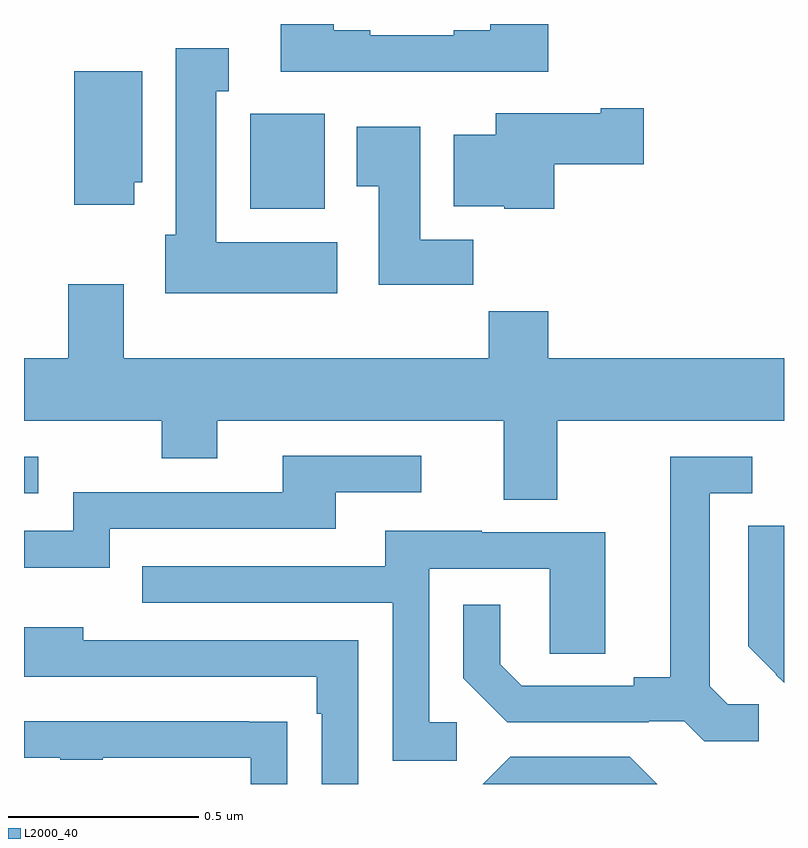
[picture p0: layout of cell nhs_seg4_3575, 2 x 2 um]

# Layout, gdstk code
import gdstk
lib = gdstk.Library(unit=1e-6, precision=1e-09)
def R(c, l, rs):  # rectangles x0, y0, x1, y1
    for r in rs: c.add(gdstk.rectangle(r[:2], r[2:], *l))
def P(c, l, *ps):  # polygons
    for p in ps: c.add(gdstk.Polygon(p, *l))
L2000_40 = (2000, 40)

nhs_seg4_3575 = lib.new_cell('nhs_seg4_3575')
R(nhs_seg4_3575, L2000_40, [(155,760.665,155.038,760.761), (155.595,761.414,155.791,761.664)])
P(nhs_seg4_3575, L2000_40, [(156.38,761.9),(156.227,761.9),(156.227,761.884),(156.131,761.884),(156.131,761.871),(155.911,761.871),(155.911,761.884),(155.815,761.884),(155.815,761.9),(155.675,761.9),(155.675,761.774),(156.38,761.774)],
  [(155.824,761.326),(155.506,761.326),(155.506,761.723),(155.539,761.723),(155.539,761.836),(155.399,761.836),(155.399,761.346),(155.372,761.346),(155.372,761.192),(155.824,761.192)],
  [(155.29,761.484),(155.311,761.484),(155.311,761.776),(155.132,761.776),(155.132,761.424),(155.29,761.424)],
  [(156.395,761.531),(156.631,761.531),(156.631,761.678),(156.518,761.678),(156.518,761.665),(156.242,761.665),(156.242,761.608),(156.131,761.608),(156.131,761.42),(156.264,761.42),(156.264,761.414),(156.395,761.414)],
  [(156.182,761.332),(156.043,761.332),(156.043,761.629),(155.876,761.629),(155.876,761.473),(155.933,761.473),(155.933,761.214),(156.182,761.214)],
  [(156.403,760.856),(157,760.856),(157,761.02),(156.38,761.02),(156.38,761.144),(156.223,761.144),(156.223,761.02),(155.263,761.02),(155.263,761.215),(155.116,761.215),(155.116,761.02),(155,761.02),(155,760.856),(155.362,760.856),(155.362,760.757),(155.509,760.757),(155.509,760.856),(156.263,760.856),(156.263,760.648),(156.403,760.648)],
  [(155.226,760.572),(155.821,760.572),(155.821,760.668),(156.046,760.668),(156.046,760.764),(155.681,760.764),(155.681,760.668),(155.13,760.668),(155.13,760.566),(155,760.566),(155,760.469),(155.226,760.469)],
  [(156.934,760.11),(156.852,760.11),(156.805,760.157),(156.805,760.665),(156.916,760.665),(156.916,760.761),(156.701,760.761),(156.701,760.181),(156.605,760.181),(156.605,760.158),(156.31,760.158),(156.253,760.215),(156.253,760.372),(156.156,760.372),(156.156,760.178),(156.272,760.062),(156.644,760.062),(156.644,760.065),(156.738,760.065),(156.79,760.013),(156.934,760.013)],
  [(157,760.58),(156.906,760.58),(156.906,760.262),(156.979,760.189),(156.978,760.188),(157,760.166)],
  [(156.139,760.062),(156.066,760.062),(156.066,760.467),(156.384,760.467),(156.384,760.243),(156.529,760.243),(156.529,760.563),(156.205,760.563),(156.205,760.567),(155.951,760.567),(155.951,760.473),(155.311,760.473),(155.311,760.377),(155.97,760.377),(155.97,759.961),(156.139,759.961)],
  [(155.88,760.278),(155.156,760.278),(155.156,760.312),(155,760.312),(155,760.182),(155.771,760.182),(155.771,760.085),(155.784,760.085),(155.784,759.9),(155.88,759.9)],
  [(155.693,760.064),(155.591,760.064),(155.591,760.065),(155,760.065),(155,759.969),(155.095,759.969),(155.095,759.964),(155.207,759.964),(155.207,759.969),(155.597,759.969),(155.597,759.9),(155.693,759.9)],
  [(156.594,759.972),(156.279,759.972),(156.207,759.9),(156.666,759.9)])

lib.write_gds('nhs_seg4_3575.gds')
